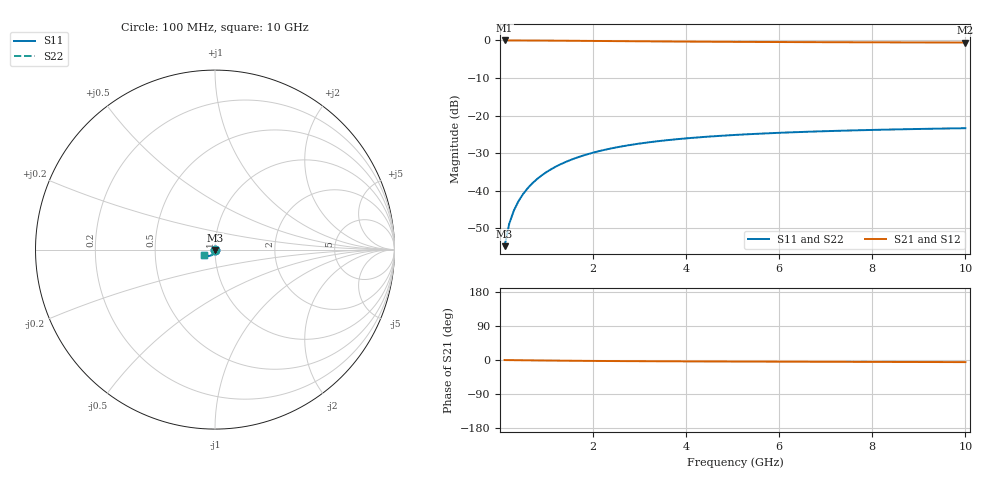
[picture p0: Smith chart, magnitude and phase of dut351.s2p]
! Touchstone file exported from HFSS 2024.1.0
!  File:  C:/UserFiles/LocalFiles/RDL_TSV_Batchsim/temp_TSV1_351_1779620066.aedt
!  Generated:  06:59:42 PM May 24, 2026
!  Design:  TSV1
!  Project:  temp_TSV1_351_1779620066
!  Setup:  Setup1
!  Solution:  Sweep
! Variables:
!  dtsv = 13.29um
!  hbump = 3um
!  htsv = 85.29um
!  lrdl = 252.1521522um
!  p = 40
!  p1 = 44.02um
!  t = 500um
!  trdl = 3um
!  wrdl = 24.89489489um
# GHz S MA R 50.000000
! Terminal data exported
! Port[1] = TSV22_T1
! Port[2] = TSV22_T2
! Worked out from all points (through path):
!   100 points, 100 MHz to 10 GHz, reference 50 ohm
!   highest |S21| = 0.00 dB at 100 MHz (marker M1); lowest = -0.5 dB at 10 GHz (marker M2)
!   lowest |S11| = -54.8 dB at 100 MHz (marker M3), VSWR 1.00, Z = 50 - j0.182 ohm
!   |S11| at or under -10 dB: start of sweep to end of sweep
!   |S22| runs from -54.8 to -23.4 dB; largest |S21 - S12| = 8e-15
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0.1  0.001816 -88.6  0.9999 -0.1  0.9999 -0.1  0.001816 -88.6
! Gamma 0 0 0 0
! Port Impedance 50 0 50 0
0.2  0.00363 -91.4  0.9997 -0.3  0.9997 -0.3  0.00363 -91.4
0.3  0.005443 -93.3  0.9994 -0.4  0.9994 -0.4  0.005443 -93.3
0.4  0.00725 -95.1  0.9991 -0.6  0.9991 -0.6  0.00725 -95.1
0.5  0.009043 -96.8  0.9986 -0.7  0.9986 -0.7  0.009043 -96.8
0.6  0.01082 -98.4  0.9981 -0.9  0.9981 -0.9  0.01082 -98.4
0.7  0.01256 -100.0  0.9975 -1.0  0.9975 -1.0  0.01256 -100.0
0.8  0.01428 -101.5  0.9968 -1.1  0.9968 -1.1  0.01428 -101.5
0.9  0.01597 -103.0  0.9961 -1.2  0.9961 -1.2  0.01597 -103.0
1.1  0.01925 -105.9  0.9944 -1.5  0.9944 -1.5  0.01925 -105.9
1.4  0.02386 -110.1  0.9916 -1.8  0.9916 -1.8  0.02386 -110.1
1.6  0.02673 -112.7  0.9896 -2.0  0.9896 -2.0  0.02673 -112.7
1.8  0.02943 -115.1  0.9874 -2.2  0.9874 -2.2  0.02943 -115.1
2.1  0.03317 -118.6  0.9842 -2.5  0.9842 -2.5  0.03317 -118.6
2.5  0.03758 -122.8  0.9798 -2.8  0.9798 -2.8  0.03758 -122.8
2.9  0.04142 -126.5  0.9756 -3.1  0.9756 -3.1  0.04142 -126.5
3.4  0.04551 -130.6  0.9708 -3.4  0.9708 -3.4  0.04551 -130.6
4.2  0.05077 -136.0  0.964 -3.7  0.964 -3.7  0.05077 -136.0
5.1  0.05529 -140.9  0.9577 -4.1  0.9577 -4.1  0.05529 -140.9
6.7  0.061 -147.4  0.9493 -4.6  0.9493 -4.6  0.061 -147.4
8.4  0.06506 -152.4  0.943 -5.1  0.943 -5.1  0.06506 -152.4
10  0.06773 -156.0  0.9387 -5.6  0.9387 -5.6  0.06773 -156.0
